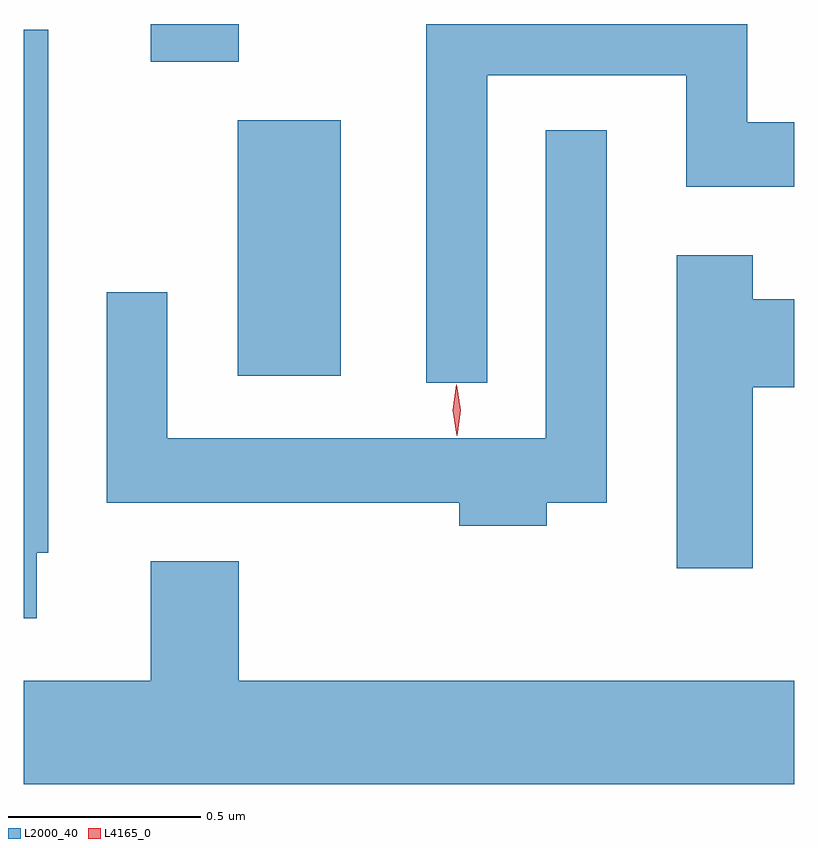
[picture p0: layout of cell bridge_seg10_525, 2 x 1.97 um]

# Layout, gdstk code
import gdstk
lib = gdstk.Library(unit=1e-6, precision=1e-09)
def R(c, l, rs):  # rectangles x0, y0, x1, y1
    for r in rs: c.add(gdstk.rectangle(r[:2], r[2:], *l))
def P(c, l, *ps):  # polygons
    for p in ps: c.add(gdstk.Polygon(p, *l))
L2000_40 = (2000, 40)
L4165_0 = (4165, 0)

bridge_seg10_525 = lib.new_cell('bridge_seg10_525')
R(bridge_seg10_525, L2000_40, [(907.166,2179.356,907.434,2180.019), (906.941,2180.171,907.169,2180.269)])
P(bridge_seg10_525, L2000_40, [(907.814,2180.136),(908.331,2180.136),(908.331,2179.846),(908.611,2179.846),(908.611,2180.014),(908.489,2180.014),(908.489,2180.269),(907.656,2180.269),(907.656,2179.338),(907.814,2179.338)],
  [(906.644,2178.896),(906.674,2178.896),(906.674,2180.254),(906.611,2180.254),(906.611,2178.726),(906.644,2178.726)],
  [(907.969,2179.026),(908.124,2179.026),(908.124,2179.993),(907.966,2179.993),(907.966,2179.194),(906.984,2179.194),(906.984,2179.573),(906.826,2179.573),(906.826,2179.026),(907.741,2179.026),(907.741,2178.966),(907.969,2178.966)],
  [(908.504,2179.326),(908.611,2179.326),(908.611,2179.554),(908.504,2179.554),(908.504,2179.669),(908.306,2179.669),(908.306,2178.856),(908.504,2178.856)],
  [(908.611,2178.564),(907.169,2178.564),(907.169,2178.874),(906.941,2178.874),(906.941,2178.564),(906.611,2178.564),(906.611,2178.296),(908.611,2178.296)])
P(bridge_seg10_525, L4165_0, [(907.735,2179.2),(907.735,2179.2),(907.725,2179.266),(907.734,2179.332),(907.735,2179.333),(907.735,2179.332),(907.745,2179.266),(907.736,2179.2)])

lib.write_gds('bridge_seg10_525.gds')
